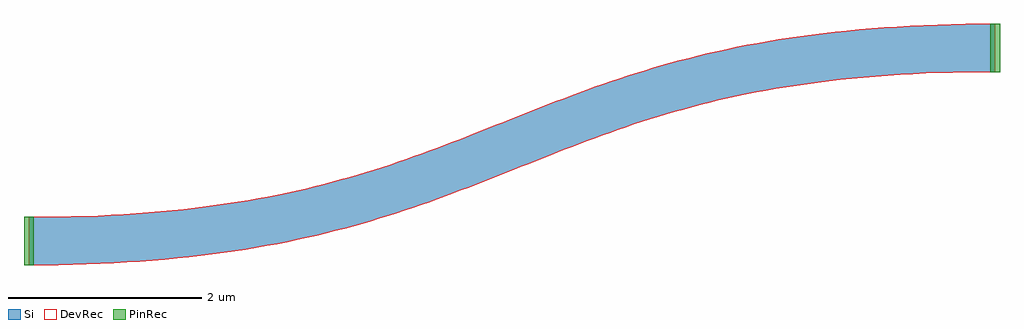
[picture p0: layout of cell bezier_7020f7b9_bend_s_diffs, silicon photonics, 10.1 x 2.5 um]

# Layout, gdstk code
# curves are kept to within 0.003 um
import gdstk
lib = gdstk.Library(unit=1e-6, precision=1e-09)
def P(c, l, *ps):  # polygons
    for p in ps: c.add(gdstk.Polygon(p, *l))
Si = (1, 0)
PinRec = (1, 10)
DevRec = (68, 0)

bezier_7020f7b9_bend_s_o = lib.new_cell('bezier_7020f7b9_bend_s_old')
P(bezier_7020f7b9_bend_s_o, Si, [(0,-0.25),(0.304,-0.248),(0.738,-0.235),(1.279,-0.202),(1.534,-0.179),(1.898,-0.137),(2.243,-0.087),(2.569,-0.03),(2.878,0.035),(3.172,0.105),(3.453,0.181),(3.809,0.29),(4.064,0.375),(4.391,0.493),(5.552,0.95),(6.02,1.124),(6.262,1.208),(6.598,1.313),(6.861,1.387),(7.136,1.456),(7.426,1.519),(7.731,1.576),(8.054,1.626),(8.397,1.669),(8.761,1.703),(9.149,1.729),(9.561,1.745),(10,1.75),(10,2.25),(9.696,2.248),(9.262,2.235),(8.721,2.202),(8.466,2.179),(8.102,2.137),(7.757,2.087),(7.431,2.03),(7.122,1.965),(6.828,1.895),(6.547,1.819),(6.191,1.71),(5.936,1.625),(5.609,1.507),(4.448,1.05),(3.98,0.876),(3.738,0.792),(3.402,0.687),(3.139,0.613),(2.864,0.544),(2.574,0.481),(2.269,0.424),(1.946,0.374),(1.603,0.331),(1.239,0.297),(0.851,0.271),(0.439,0.255),(0,0.25)])
bezier_7020f7b9_bend_s_o.add(gdstk.FlexPath([(0.05,0),(-0.05,0)], 0.5, ends="flush", simple_path=True, layer=1, datatype=10))  # PinRec
bezier_7020f7b9_bend_s_o.add(gdstk.FlexPath([(9.95,2),(10.05,2)], 0.5, ends="flush", simple_path=True, layer=1, datatype=10))  # PinRec
bezier_7020f7b9_bend_s_o.add(gdstk.Label('o1', (0,0), layer=1, texttype=10))
bezier_7020f7b9_bend_s_o.add(gdstk.Label('o2', (10,2), layer=1, texttype=10))

bezier_7020f7b9_bend_s_n = lib.new_cell('bezier_7020f7b9_bend_s_new')
P(bezier_7020f7b9_bend_s_n, Si, [(0,-0.25),(0.304,-0.248),(0.738,-0.235),(1.279,-0.202),(1.534,-0.179),(1.898,-0.137),(2.243,-0.087),(2.569,-0.03),(2.878,0.035),(3.172,0.105),(3.453,0.181),(3.809,0.29),(4.064,0.375),(4.391,0.493),(5.552,0.95),(6.02,1.124),(6.262,1.208),(6.598,1.313),(6.861,1.387),(7.136,1.456),(7.426,1.519),(7.731,1.576),(8.054,1.626),(8.397,1.669),(8.761,1.703),(9.149,1.729),(9.561,1.745),(10,1.75),(10,2.25),(9.696,2.248),(9.262,2.235),(8.721,2.202),(8.466,2.179),(8.102,2.137),(7.757,2.087),(7.431,2.03),(7.122,1.965),(6.828,1.895),(6.547,1.819),(6.191,1.71),(5.936,1.625),(5.609,1.507),(4.448,1.05),(3.98,0.876),(3.738,0.792),(3.402,0.687),(3.139,0.613),(2.864,0.544),(2.574,0.481),(2.269,0.424),(1.946,0.374),(1.603,0.331),(1.239,0.297),(0.851,0.271),(0.439,0.255),(0,0.25)])
P(bezier_7020f7b9_bend_s_n, DevRec, [(0,-0.25),(0.304,-0.248),(0.738,-0.235),(1.279,-0.202),(1.534,-0.179),(1.898,-0.137),(2.243,-0.087),(2.569,-0.03),(2.878,0.035),(3.172,0.105),(3.453,0.181),(3.809,0.29),(4.064,0.375),(4.391,0.493),(5.552,0.95),(6.02,1.124),(6.262,1.208),(6.598,1.313),(6.861,1.387),(7.136,1.456),(7.426,1.519),(7.731,1.576),(8.054,1.626),(8.397,1.669),(8.761,1.703),(9.149,1.729),(9.561,1.745),(10,1.75),(10,2.25),(9.696,2.248),(9.262,2.235),(8.721,2.202),(8.466,2.179),(8.102,2.137),(7.757,2.087),(7.431,2.03),(7.122,1.965),(6.828,1.895),(6.547,1.819),(6.191,1.71),(5.936,1.625),(5.609,1.507),(4.448,1.05),(3.98,0.876),(3.738,0.792),(3.402,0.687),(3.139,0.613),(2.864,0.544),(2.574,0.481),(2.269,0.424),(1.946,0.374),(1.603,0.331),(1.239,0.297),(0.851,0.271),(0.439,0.255),(0,0.25)])
bezier_7020f7b9_bend_s_n.add(gdstk.FlexPath([(0.05,0),(-0.05,0)], 0.5, ends="flush", simple_path=True, layer=1, datatype=10))  # PinRec
bezier_7020f7b9_bend_s_n.add(gdstk.FlexPath([(9.95,2),(10.05,2)], 0.5, ends="flush", simple_path=True, layer=1, datatype=10))  # PinRec
bezier_7020f7b9_bend_s_n.add(gdstk.Label('o1', (0,0), layer=1, texttype=10))
bezier_7020f7b9_bend_s_n.add(gdstk.Label('o2', (10,2), layer=1, texttype=10))

bezier_7020f7b9_bend_s_d = lib.new_cell('bezier_7020f7b9_bend_s_diffs')
bezier_7020f7b9_bend_s_d.add(gdstk.Reference(bezier_7020f7b9_bend_s_o, (0,0)))
bezier_7020f7b9_bend_s_d.add(gdstk.Reference(bezier_7020f7b9_bend_s_n, (0,0)))

lib.write_gds('bezier_7020f7b9_bend_s_diffs.gds')
